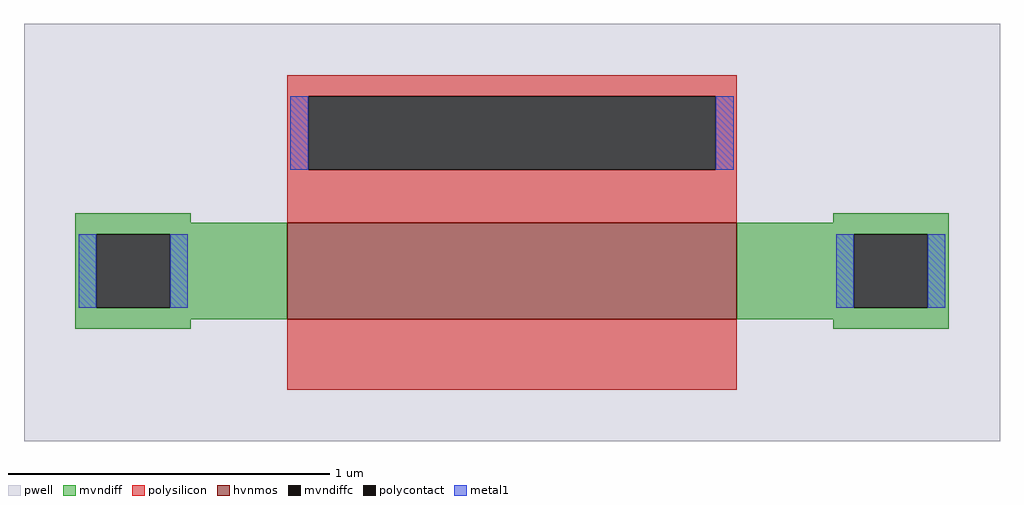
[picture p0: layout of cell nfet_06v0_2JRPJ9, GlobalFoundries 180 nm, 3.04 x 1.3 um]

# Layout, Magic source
magic
tech gf180mcuC
magscale 1 10
<< pwell >>
rect -304 -130 304 130
<< hvnmos >>
rect -140 -54 140 6
<< mvndiff >>
rect -272 6 -200 12
rect 200 6 272 12
rect -272 -1 -140 6
rect -272 -47 -259 -1
rect -213 -47 -140 -1
rect -272 -54 -140 -47
rect 140 -1 272 6
rect 140 -47 213 -1
rect 259 -47 272 -1
rect 140 -54 272 -47
rect -272 -60 -200 -54
rect 200 -60 272 -54
<< mvndiffc >>
rect -259 -47 -213 -1
rect 213 -47 259 -1
<< polysilicon >>
rect -140 85 140 98
rect -140 39 -127 85
rect 127 39 140 85
rect -140 6 140 39
rect -140 -98 140 -54
<< polycontact >>
rect -127 39 127 85
<< metal1 >>
rect -138 39 -127 85
rect 127 39 138 85
rect -270 -47 -259 -1
rect -213 -47 -202 -1
rect 202 -47 213 -1
rect 259 -47 270 -1
<< properties >>
string gencell nfet_06v0
string library gf180mcu
string parameters w 0.3 l 1.4 m 1 nf 1 diffcov 100 polycov 100 guard 0 glc 0 grc 0 gtc 0 gbc 0 tbcov 100 rlcov 100 topc 1 botc 0 poverlap 0 doverlap 0 lmin 0.7 wmin 0.3 class mosfet full_metal 0 compatible {nfet_03v3 nfet_05v0 nfet_06v0 nfet_06v0_nvt}
<< end >>
